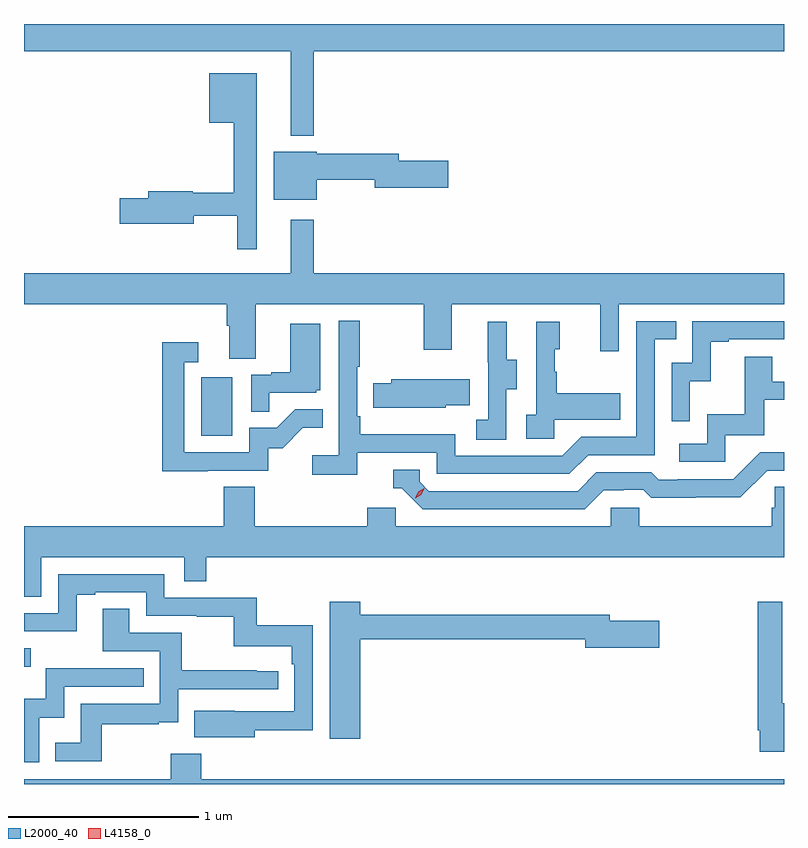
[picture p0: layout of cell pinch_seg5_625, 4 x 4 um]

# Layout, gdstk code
import gdstk
lib = gdstk.Library(unit=1e-6, precision=1e-09)
def R(c, l, rs):  # rectangles x0, y0, x1, y1
    for r in rs: c.add(gdstk.rectangle(r[:2], r[2:], *l))
def P(c, l, *ps):  # polygons
    for p in ps: c.add(gdstk.Polygon(p, *l))
L2000_40 = (2000, 40)
L4158_0 = (4158, 0)

pinch_seg5_625 = lib.new_cell('pinch_seg5_625')
R(pinch_seg5_625, L2000_40, [(1044.617,870.836,1044.652,870.933), (1045.55,872.052,1045.714,872.359)])
P(pinch_seg5_625, L2000_40, [(1046.143,874.076),(1048.617,874.076),(1048.617,874.219),(1044.617,874.219),(1044.617,874.076),(1046.021,874.076),(1046.021,873.632),(1046.143,873.632)],
  [(1045.843,873.961),(1045.592,873.961),(1045.592,873.698),(1045.722,873.698),(1045.722,873.331),(1045.506,873.331),(1045.506,873.338),(1045.271,873.338),(1045.271,873.302),(1045.122,873.302),(1045.122,873.167),(1045.51,873.167),(1045.51,873.21),(1045.739,873.21),(1045.739,873.033),(1045.843,873.033)],
  [(1046.158,873.4),(1046.462,873.4),(1046.462,873.358),(1046.851,873.358),(1046.851,873.5),(1046.59,873.5),(1046.59,873.536),(1046.158,873.536),(1046.158,873.547),(1045.931,873.547),(1045.931,873.293),(1046.158,873.293)],
  [(1045.837,872.744),(1046.722,872.744),(1046.722,872.505),(1046.869,872.505),(1046.869,872.744),(1047.65,872.744),(1047.65,872.496),(1047.747,872.496),(1047.747,872.744),(1048.617,872.744),(1048.617,872.908),(1046.143,872.908),(1046.143,873.19),(1046.021,873.19),(1046.021,872.908),(1044.617,872.908),(1044.617,872.744),(1045.685,872.744),(1045.685,872.632),(1045.697,872.632),(1045.697,872.458),(1045.837,872.458)],
  [(1046.372,871.962),(1046.79,871.962),(1046.79,871.851),(1047.487,871.851),(1047.586,871.95),(1047.936,871.95),(1047.936,872.559),(1048.049,872.559),(1048.049,872.655),(1047.84,872.655),(1047.84,872.046),(1047.549,872.046),(1047.45,871.947),(1046.886,871.947),(1046.886,872.059),(1046.387,872.059),(1046.387,872.155),(1046.37,872.155),(1046.37,872.416),(1046.383,872.416),(1046.383,872.656),(1046.274,872.656),(1046.274,871.948),(1046.133,871.948),(1046.133,871.846),(1046.372,871.846)],
  [(1048.122,872.339),(1048.232,872.339),(1048.232,872.547),(1048.327,872.547),(1048.327,872.559),(1048.617,872.559),(1048.617,872.655),(1048.134,872.655),(1048.134,872.436),(1048.026,872.436),(1048.026,872.127),(1048.122,872.127)],
  [(1047.156,872.296),(1047.211,872.296),(1047.211,872.451),(1047.157,872.451),(1047.157,872.653),(1047.059,872.653),(1047.059,872.439),(1047.06,872.439),(1047.06,872.135),(1046.997,872.135),(1046.997,872.032),(1047.156,872.032)],
  [(1047.408,872.135),(1047.755,872.135),(1047.755,872.275),(1047.421,872.275),(1047.421,872.39),(1047.411,872.39),(1047.411,872.508),(1047.436,872.508),(1047.436,872.653),(1047.312,872.653),(1047.312,872.162),(1047.261,872.162),(1047.261,872.037),(1047.408,872.037)],
  [(1045.907,872.277),(1046.154,872.277),(1046.154,872.292),(1046.176,872.292),(1046.176,872.641),(1046.018,872.641),(1046.018,872.386),(1045.919,872.386),(1045.919,872.373),(1045.812,872.373),(1045.812,872.179),(1045.907,872.179)],
  [(1045.583,871.869),(1045.902,871.869),(1045.902,871.986),(1045.978,871.986),(1046.085,872.093),(1046.189,872.093),(1046.189,872.192),(1046.045,872.192),(1045.947,872.094),(1045.803,872.094),(1045.803,871.965),(1045.461,871.965),(1045.461,872.439),(1045.534,872.439),(1045.534,872.545),(1045.345,872.545),(1045.345,871.864),(1045.583,871.864)],
  [(1048.308,872.055),(1048.513,872.055),(1048.513,872.241),(1048.617,872.241),(1048.617,872.337),(1048.555,872.337),(1048.555,872.467),(1048.411,872.467),(1048.411,872.164),(1048.212,872.164),(1048.212,872.01),(1048.065,872.01),(1048.065,871.914),(1048.308,871.914)],
  [(1046.838,872.213),(1046.963,872.213),(1046.963,872.35),(1046.549,872.35),(1046.549,872.328),(1046.455,872.328),(1046.455,872.199),(1046.566,872.199),(1046.566,872.198),(1046.838,872.198)],
  [(1047.667,871.764),(1047.774,871.764),(1047.774,871.767),(1047.877,871.767),(1047.919,871.725),(1048.152,871.725),(1048.152,871.727),(1048.388,871.727),(1048.53,871.869),(1048.617,871.869),(1048.617,871.965),(1048.491,871.965),(1048.35,871.824),(1048.057,871.824),(1048.057,871.821),(1047.958,871.821),(1047.919,871.86),(1047.63,871.86),(1047.531,871.761),(1046.748,871.761),(1046.7,871.809),(1046.7,871.872),(1046.561,871.872),(1046.561,871.776),(1046.604,871.776),(1046.715,871.665),(1047.568,871.665)],
  [(1044.709,871.412),(1045.461,871.412),(1045.461,871.285),(1045.577,871.285),(1045.577,871.412),(1048.617,871.412),(1048.617,871.784),(1048.567,871.784),(1048.567,871.674),(1048.553,871.674),(1048.553,871.576),(1047.855,871.576),(1047.855,871.674),(1047.705,871.674),(1047.705,871.576),(1046.574,871.576),(1046.574,871.674),(1046.423,871.674),(1046.423,871.576),(1045.832,871.576),(1045.832,871.784),(1045.667,871.784),(1045.667,871.576),(1044.617,871.576),(1044.617,871.204),(1044.709,871.204)],
  [(1045.831,870.502),(1046.136,870.502),(1046.136,871.054),(1045.843,871.054),(1045.843,871.2),(1045.356,871.2),(1045.356,871.323),(1044.798,871.323),(1044.798,871.119),(1044.617,871.119),(1044.617,871.023),(1044.69,871.023),(1044.69,871.022),(1044.895,871.022),(1044.895,871.215),(1044.991,871.215),(1044.991,871.227),(1045.26,871.227),(1045.26,871.104),(1045.525,871.104),(1045.525,871.099),(1045.722,871.099),(1045.722,870.944),(1046.027,870.944),(1046.027,870.848),(1046.04,870.848),(1046.04,870.603),(1045.727,870.603),(1045.727,870.604),(1045.513,870.604),(1045.513,870.464),(1045.831,870.464)],
  [(1046.386,870.982),(1047.572,870.982),(1047.572,870.935),(1047.961,870.935),(1047.961,871.077),(1047.7,871.077),(1047.7,871.111),(1046.386,871.111),(1046.386,871.177),(1046.225,871.177),(1046.225,870.456),(1046.386,870.456)],
  [(1048.617,870.645),(1048.609,870.645),(1048.609,871.177),(1048.478,871.177),(1048.478,870.502),(1048.49,870.502),(1048.49,870.39),(1048.617,870.39)],
  [(1045.027,870.534),(1045.325,870.534),(1045.325,870.545),(1045.428,870.545),(1045.428,870.717),(1045.954,870.717),(1045.954,870.813),(1045.841,870.813),(1045.841,870.818),(1045.448,870.818),(1045.448,871.014),(1045.171,871.014),(1045.171,871.142),(1045.031,871.142),(1045.031,870.918),(1045.332,870.918),(1045.332,870.642),(1044.916,870.642),(1044.916,870.436),(1044.781,870.436),(1044.781,870.339),(1045.027,870.339)],
  [(1044.696,870.569),(1044.828,870.569),(1044.828,870.732),(1045.247,870.732),(1045.247,870.828),(1044.732,870.828),(1044.732,870.667),(1044.617,870.667),(1044.617,870.333),(1044.696,870.333)],
  [(1048.617,870.244),(1045.55,870.244),(1045.55,870.379),(1045.39,870.379),(1045.39,870.244),(1044.617,870.244),(1044.617,870.219),(1048.617,870.219)])
P(pinch_seg5_625, L4158_0, [(1046.676,871.723),(1046.676,871.724),(1046.693,871.756),(1046.724,871.775),(1046.724,871.775),(1046.724,871.774),(1046.708,871.742),(1046.677,871.723)])

lib.write_gds('pinch_seg5_625.gds')
